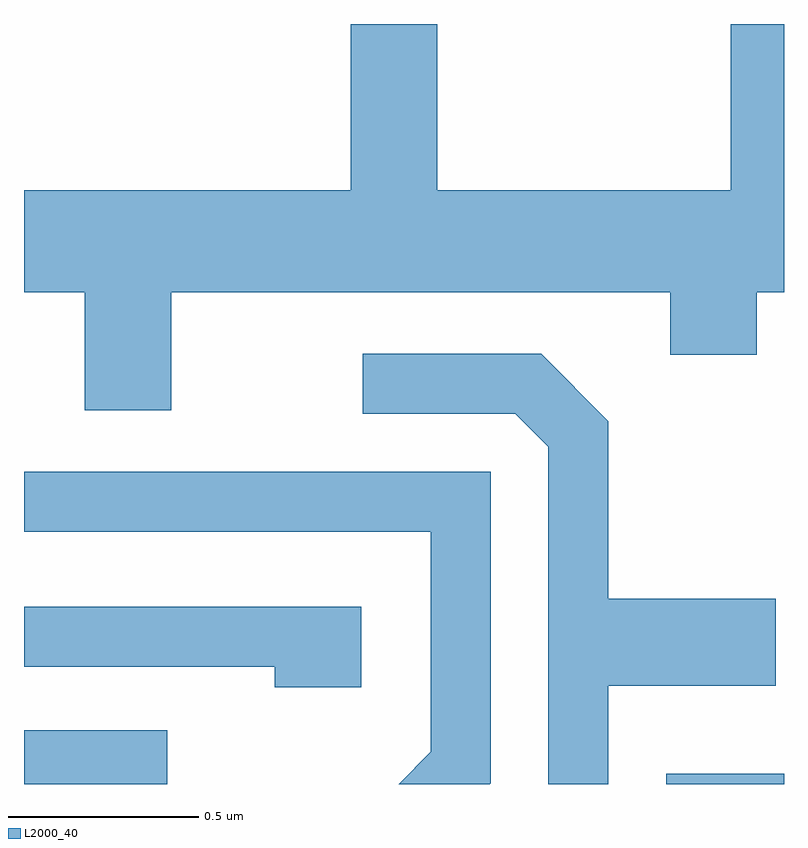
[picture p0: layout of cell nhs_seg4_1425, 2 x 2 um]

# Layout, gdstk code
import gdstk
lib = gdstk.Library(unit=1e-6, precision=1e-09)
def R(c, l, rs):  # rectangles x0, y0, x1, y1
    for r in rs: c.add(gdstk.rectangle(r[:2], r[2:], *l))
def P(c, l, *ps):  # polygons
    for p in ps: c.add(gdstk.Polygon(p, *l))
L2000_40 = (2000, 40)

nhs_seg4_1425 = lib.new_cell('nhs_seg4_1425')
R(nhs_seg4_1425, L2000_40, [(195.611,1308.982,195.988,1309.124), (197.301,1308.982,197.611,1309.009)])
P(nhs_seg4_1425, L2000_40, [(195.999,1310.276),(197.311,1310.276),(197.311,1310.111),(197.539,1310.111),(197.539,1310.276),(197.611,1310.276),(197.611,1310.982),(197.471,1310.982),(197.471,1310.544),(196.699,1310.544),(196.699,1310.982),(196.471,1310.982),(196.471,1310.544),(195.611,1310.544),(195.611,1310.276),(195.771,1310.276),(195.771,1309.966),(195.999,1309.966)],
  [(197.149,1309.241),(197.589,1309.241),(197.589,1309.469),(197.149,1309.469),(197.149,1309.937),(196.972,1310.114),(196.503,1310.114),(196.503,1309.956),(196.904,1309.956),(196.991,1309.869),(196.991,1308.982),(197.149,1308.982)],
  [(196.839,1308.984),(196.839,1309.804),(195.611,1309.804),(195.611,1309.646),(196.681,1309.646),(196.681,1309.067),(196.597,1308.982),(196.837,1308.982)],
  [(196.499,1309.449),(195.611,1309.449),(195.611,1309.291),(196.271,1309.291),(196.271,1309.236),(196.499,1309.236)])

lib.write_gds('nhs_seg4_1425.gds')
